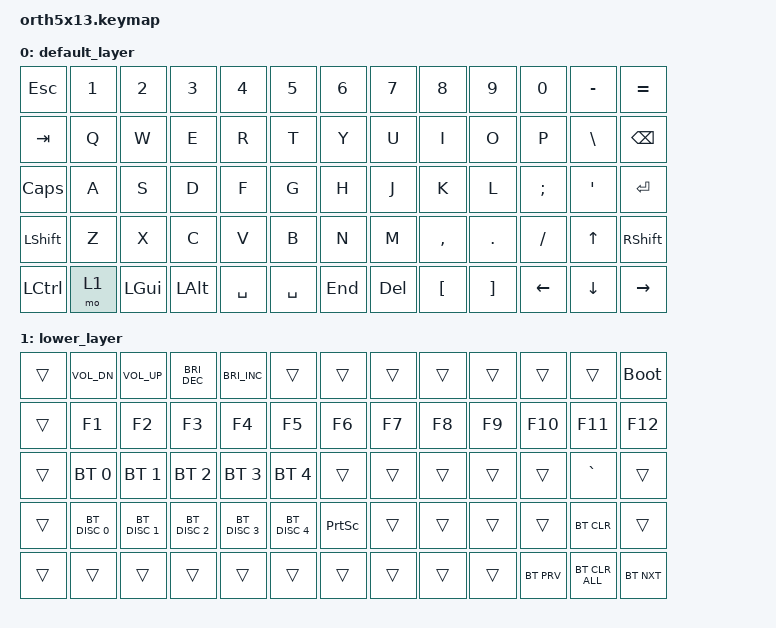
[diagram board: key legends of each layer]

#include <dt-bindings/zmk/bt.h>
#include <dt-bindings/zmk/keys.h>
#include <dt-bindings/zmk/outputs.h>

/ {
    keymap {
        compatible = "zmk,keymap";

        default_layer {
            bindings = <
&kp ESC    &kp N1  &kp N2    &kp N3    &kp N4     &kp N5     &kp N6   &kp N7   &kp N8     &kp N9    &kp N0    &kp MINUS &kp EQUAL
&kp TAB    &kp Q   &kp W     &kp E     &kp R      &kp T      &kp Y    &kp U    &kp I      &kp O     &kp P     &kp BSLH  &kp BSPC
&kp CAPS   &kp A   &kp S     &kp D     &kp F      &kp G      &kp H    &kp J    &kp K      &kp L     &kp SEMI  &kp SQT   &kp RET
&kp LSHFT  &kp Z   &kp X     &kp C     &kp V      &kp B      &kp N    &kp M    &kp COMMA  &kp DOT   &kp FSLH  &kp UP    &kp RSHFT
&kp LCTRL  &mo 1   &kp LGUI  &kp LALT  &kp SPACE  &kp SPACE  &kp END  &kp DEL  &kp LBKT   &kp RBKT  &kp LEFT  &kp DOWN  &kp RIGHT
            >;
        };

        lower_layer {
            bindings = <
&trans  &kp C_VOL_DN   &kp C_VOLUME_UP  &kp C_BRIGHTNESS_DEC     &kp C_BRIGHTNESS_INC  &trans  &trans  &trans           &trans  &trans  &trans      &trans    &bootloader
&trans  &kp F1         &kp F2           &kp F3         &kp F4            &kp F5          &kp F6           &kp F7  &kp F8  &kp F9  &kp F10     &kp F11   &kp F12
&trans  &bt BT_SEL 0   &bt BT_SEL 1     &bt BT_SEL 2   &bt BT_SEL 3      &bt BT_SEL 4    &trans           &trans  &trans  &trans  &trans      &kp GRAVE  &trans
&trans  &bt BT_DISC 0  &bt BT_DISC 1    &bt BT_DISC 2  &bt BT_DISC 3     &bt BT_DISC 4   &kp PRINTSCREEN  &trans  &trans  &trans  &trans      &bt BT_CLR    &trans
&trans  &trans         &trans           &trans         &trans            &trans          &trans           &trans  &trans  &trans  &bt BT_PRV  &bt BT_CLR_ALL    &bt BT_NXT
            >;
        };
    };
};
